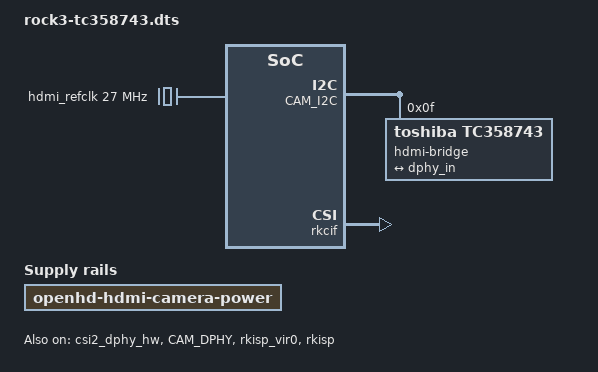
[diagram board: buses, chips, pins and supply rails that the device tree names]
/dts-v1/;
/plugin/;

/ {
    compatible = BOARD_COMPATIBLE;
};

&{/} {
    hdmi_refclk: openhd-hdmi-clock {
        compatible = "fixed-clock";
        #clock-cells = <0>;
        clock-frequency = <27000000>;
    };

    openhd-hdmi-camera-power {
        compatible = "regulator-fixed";
        regulator-name = "openhd-hdmi-camera-power";
        gpio = <POWER_GPIO>;
        enable-active-high;
        regulator-boot-on;
        regulator-always-on;
    };
};

&CAM_I2C {
    status = "okay";
    pinctrl-names = "default";
    pinctrl-0 = <&CAM_I2C_PINS>;
    #address-cells = <1>;
    #size-cells = <0>;

    hdmi-bridge@f {
        compatible = "toshiba,tc358743";
        reg = <0xf>;
        clocks = <&hdmi_refclk>;
        clock-names = "refclk";
        rockchip,camera-module-index = <0>;
        rockchip,camera-module-facing = "back";
        rockchip,camera-module-name = "tc358743";
        rockchip,camera-module-lens-name = "default";

        port {
            hdmi_out: endpoint {
                data-lanes = <CSI_LANES>;
                clock-lanes = <0>;
                clock-noncontinuous;
                link-frequencies = /bits/ 64 <297000000>;
                remote-endpoint = <&dphy_in>;
            };
        };
    };
};

&csi2_dphy_hw { status = "okay"; };

&CAM_DPHY {
    status = "okay";

    ports {
        #address-cells = <1>;
        #size-cells = <0>;

        port@0 {
            reg = <0>;
            #address-cells = <1>;
            #size-cells = <0>;

            dphy_in: endpoint@1 {
                reg = <1>;
                data-lanes = <CSI_LANES>;
                remote-endpoint = <&hdmi_out>;
            };
        };

        port@1 {
            reg = <1>;
            #address-cells = <1>;
            #size-cells = <0>;

            dphy_out: endpoint@1 {
                reg = <1>;
                remote-endpoint = <&isp_in>;
            };
        };
    };
};

&rkisp_vir0 {
    status = "okay";

    port {
        #address-cells = <1>;
        #size-cells = <0>;

        isp_in: endpoint@0 {
            reg = <0>;
            remote-endpoint = <&dphy_out>;
        };
    };
};

&rkisp { status = "okay"; };
&rkisp_mmu { status = "okay"; };
&rkcif { status = "okay"; };
&rkcif_mmu { status = "okay"; };
